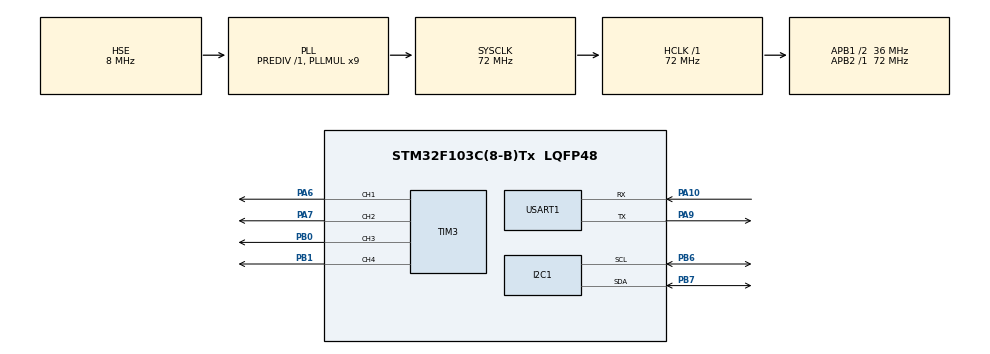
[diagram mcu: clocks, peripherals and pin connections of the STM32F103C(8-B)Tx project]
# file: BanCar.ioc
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Mcu.Family=STM32F1
Mcu.Name=STM32F103C(8-B)Tx
Mcu.Package=LQFP48
NVIC.PriorityGroup=NVIC_PRIORITYGROUP_4
PA10.Mode=Asynchronous
PA10.Signal=USART1_RX
PA13.Mode=Serial_Wire
PA13.Signal=SYS_JTMS-SWDIO
PA14.Mode=Serial_Wire
PA14.Signal=SYS_JTCK-SWCLK
PA6.Signal=S_TIM3_CH1
PA7.Signal=S_TIM3_CH2
PA9.Mode=Asynchronous
PA9.Signal=USART1_TX
PB0.Signal=S_TIM3_CH3
PB1.Signal=S_TIM3_CH4
PB6.Mode=I2C
PB6.Signal=I2C1_SCL
PB7.Mode=I2C
PB7.Signal=I2C1_SDA
PC14-OSC32_IN.Mode=LSE-External-Oscillator
PC14-OSC32_IN.Signal=RCC_OSC32_IN
PC15-OSC32_OUT.Mode=LSE-External-Oscillator
PC15-OSC32_OUT.Signal=RCC_OSC32_OUT
PD0-OSC_IN.Mode=HSE-External-Oscillator
PD0-OSC_IN.Signal=RCC_OSC_IN
PD1-OSC_OUT.Mode=HSE-External-Oscillator
PD1-OSC_OUT.Signal=RCC_OSC_OUT
ProjectManager.HeapSize=0x200
ProjectManager.StackSize=0x400
ProjectManager.TargetToolchain=MDK-ARM V5
RCC.AHBFreq_Value=72000000
RCC.APB1CLKDivider=RCC_HCLK_DIV2
RCC.APB1Freq_Value=36000000
RCC.APB1TimFreq_Value=72000000
RCC.APB2Freq_Value=72000000
RCC.APB2TimFreq_Value=72000000
RCC.HCLKFreq_Value=72000000
RCC.PLLMUL=RCC_PLL_MUL9
RCC.PLLSourceVirtual=RCC_PLLSOURCE_HSE
RCC.SYSCLKFreq_VALUE=72000000
RCC.SYSCLKSource=RCC_SYSCLKSOURCE_PLLCLK
RCC.USBFreq_Value=72000000
SH.S_TIM3_CH1.0=TIM3_CH1,PWM Generation1 CH1
SH.S_TIM3_CH2.0=TIM3_CH2,PWM Generation2 CH2
SH.S_TIM3_CH3.0=TIM3_CH3,PWM Generation3 CH3
SH.S_TIM3_CH4.0=TIM3_CH4,PWM Generation4 CH4
TIM3.Channel-PWM\ Generation1\ CH1=TIM_CHANNEL_1
TIM3.Channel-PWM\ Generation2\ CH2=TIM_CHANNEL_2
TIM3.Channel-PWM\ Generation3\ CH3=TIM_CHANNEL_3
TIM3.Channel-PWM\ Generation4\ CH4=TIM_CHANNEL_4
USART1.VirtualMode=VM_ASYNC
VP_TIM3_VS_ClockSourceINT.Mode=Internal
board=BanCar

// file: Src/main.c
/**
  ******************************************************************************
  * File Name          : main.c
  * Description        : Main program body
  ******************************************************************************
  ** This notice applies to any and all portions of this file
  * that are not between comment pairs USER CODE BEGIN and
  * USER CODE END. Other portions of this file, whether
  * inserted by the user or by software development tools
  * are owned by their respective copyright owners.
  *
  * COPYRIGHT(c) 2017 STMicroelectronics
  *
  * Redistribution and use in source and binary forms, with or without modification,
  * are permitted provided that the following conditions are met:
  *   1. Redistributions of source code must retain the above copyright notice,
  *      this list of conditions and the following disclaimer.
  *   2. Redistributions in binary form must reproduce the above copyright notice,
  *      this list of conditions and the following disclaimer in the documentation
  *      and/or other materials provided with the distribution.
  *   3. Neither the name of STMicroelectronics nor the names of its contributors
  *      may be used to endorse or promote products derived from this software
  *      without specific prior written permission.
  *
  * THIS SOFTWARE IS PROVIDED BY THE COPYRIGHT HOLDERS AND CONTRIBUTORS "AS IS"
  * AND ANY EXPRESS OR IMPLIED WARRANTIES, INCLUDING, BUT NOT LIMITED TO, THE
  * IMPLIED WARRANTIES OF MERCHANTABILITY AND FITNESS FOR A PARTICULAR PURPOSE ARE
  * DISCLAIMED. IN NO EVENT SHALL THE COPYRIGHT HOLDER OR CONTRIBUTORS BE LIABLE
  * FOR ANY DIRECT, INDIRECT, INCIDENTAL, SPECIAL, EXEMPLARY, OR CONSEQUENTIAL
  * DAMAGES (INCLUDING, BUT NOT LIMITED TO, PROCUREMENT OF SUBSTITUTE GOODS OR
  * SERVICES; LOSS OF USE, DATA, OR PROFITS; OR BUSINESS INTERRUPTION) HOWEVER
  * CAUSED AND ON ANY THEORY OF LIABILITY, WHETHER IN CONTRACT, STRICT LIABILITY,
  * OR TORT (INCLUDING NEGLIGENCE OR OTHERWISE) ARISING IN ANY WAY OUT OF THE USE
  * OF THIS SOFTWARE, EVEN IF ADVISED OF THE POSSIBILITY OF SUCH DAMAGE.
  *
  ******************************************************************************
  */
#include "main.h"
#include "stm32f1xx_hal.h"

/* USER CODE BEGIN Includes */
#include "banlance.h"
#include "mpu6050.h"

/* USER CODE END Includes */

I2C_HandleTypeDef hi2c1;

TIM_HandleTypeDef htim3;

UART_HandleTypeDef huart1;

/* USER CODE BEGIN PV */
/* Private variables ---------------------------------------------------------*/

/* USER CODE END PV */

void SystemClock_Config(void);
static void MX_GPIO_Init(void);
static void MX_USART1_UART_Init(void);
static void MX_I2C1_Init(void);
static void MX_TIM3_Init(void);

void HAL_TIM_MspPostInit(TIM_HandleTypeDef *htim);

/* USER CODE BEGIN PFP */
/* Private function prototypes -----------------------------------------------*/

/* USER CODE END PFP */

/* USER CODE BEGIN 0 */
float angle,angle_raw,gyro;
int pwm;
int fputc(int c,FILE * pf)
{
  HAL_UART_Transmit(&huart1,(uint8_t *)&c,1,5);
  return c;
}
void HAL_SYSTICK_Callback()
{
  if(HAL_GetTick()%5==0)
  {
    getAngle(&angle_raw,&gyro);
    angle=0.05*angle_raw+0.95*(angle+gyro*0.005);
    pwm=banlanceControl(angle,gyro);
    printf("%f %f\r\n",angle_raw,angle);
  }
 }
/* USER CODE END 0 */

int main(void)
{

  /* MCU Configuration----------------------------------------------------------*/

  /* Reset of all peripherals, Initializes the Flash interface and the Systick. */
  HAL_Init();

  /* Configure the system clock */
  SystemClock_Config();

  /* Initialize all configured peripherals */
  MX_GPIO_Init();
  MX_USART1_UART_Init();
  MX_I2C1_Init();
  MX_TIM3_Init();

  /* USER CODE BEGIN 2 */

  MPU_isReady()?printf("Nothing Connected!\r\n"):printf("Connected!\r\n");
  MPU_WakeUp()?printf("Waking up MPU6050 failed!\r\n"):printf("MPU6050 wakes up!\r\n");
  MPU_SetScale(GYRO_SCALE_500,ACC_SCALE_2G)?printf("Setting scale failed!"):printf("Setting scale succeeded!");
  HAL_Delay(500);
  /* USER CODE END 2 */

  /* Infinite loop */
  /* USER CODE BEGIN WHILE */
  int16_t ax,ay,gz;
    HAL_TIM_PWM_Start(&htim3,TIM_CHANNEL_1);
    HAL_TIM_PWM_Start(&htim3,TIM_CHANNEL_2);
    HAL_TIM_PWM_Start(&htim3,TIM_CHANNEL_3);
    HAL_TIM_PWM_Start(&htim3,TIM_CHANNEL_4);
  while (1)
  {

    pwmOutputL(pwm);
      pwmOutputR(pwm);
  /* USER CODE END WHILE */

  /* USER CODE BEGIN 3 */
    // MPU_ReadGy(&gz);
    // printf("%d\r\n",gz);
    // HAL_Delay(5);
  }
  /* USER CODE END 3 */

}

/** System Clock Configuration
*/
void SystemClock_Config(void)
{

  RCC_OscInitTypeDef RCC_OscInitStruct;
  RCC_ClkInitTypeDef RCC_ClkInitStruct;

    /**Initializes the CPU, AHB and APB busses clocks
    */
  RCC_OscInitStruct.OscillatorType = RCC_OSCILLATORTYPE_HSE;
  RCC_OscInitStruct.HSEState = RCC_HSE_ON;
  RCC_OscInitStruct.HSEPredivValue = RCC_HSE_PREDIV_DIV1;
  RCC_OscInitStruct.HSIState = RCC_HSI_ON;
  RCC_OscInitStruct.PLL.PLLState = RCC_PLL_ON;
  RCC_OscInitStruct.PLL.PLLSource = RCC_PLLSOURCE_HSE;
  RCC_OscInitStruct.PLL.PLLMUL = RCC_PLL_MUL9;
  if (HAL_RCC_OscConfig(&RCC_OscInitStruct) != HAL_OK)
  {
    _Error_Handler(__FILE__, __LINE__);
  }

    /**Initializes the CPU, AHB and APB busses clocks
    */
  RCC_ClkInitStruct.ClockType = RCC_CLOCKTYPE_HCLK|RCC_CLOCKTYPE_SYSCLK
                              |RCC_CLOCKTYPE_PCLK1|RCC_CLOCKTYPE_PCLK2;
  RCC_ClkInitStruct.SYSCLKSource = RCC_SYSCLKSOURCE_PLLCLK;
  RCC_ClkInitStruct.AHBCLKDivider = RCC_SYSCLK_DIV1;
  RCC_ClkInitStruct.APB1CLKDivider = RCC_HCLK_DIV2;
  RCC_ClkInitStruct.APB2CLKDivider = RCC_HCLK_DIV1;

  if (HAL_RCC_ClockConfig(&RCC_ClkInitStruct, FLASH_LATENCY_2) != HAL_OK)
  {
    _Error_Handler(__FILE__, __LINE__);
  }

    /**Configure the Systick interrupt time
    */
  HAL_SYSTICK_Config(HAL_RCC_GetHCLKFreq()/1000);

    /**Configure the Systick
    */
  HAL_SYSTICK_CLKSourceConfig(SYSTICK_CLKSOURCE_HCLK);

  /* SysTick_IRQn interrupt configuration */
  HAL_NVIC_SetPriority(SysTick_IRQn, 0, 0);
}

/* I2C1 init function */
static void MX_I2C1_Init(void)
{

  hi2c1.Instance = I2C1;
  hi2c1.Init.ClockSpeed = 400000;
  hi2c1.Init.DutyCycle = I2C_DUTYCYCLE_2;
  hi2c1.Init.OwnAddress1 = 0;
  hi2c1.Init.AddressingMode = I2C_ADDRESSINGMODE_7BIT;
  hi2c1.Init.DualAddressMode = I2C_DUALADDRESS_DISABLE;
  hi2c1.Init.OwnAddress2 = 0;
  hi2c1.Init.GeneralCallMode = I2C_GENERALCALL_DISABLE;
  hi2c1.Init.NoStretchMode = I2C_NOSTRETCH_DISABLE;
  if (HAL_I2C_Init(&hi2c1) != HAL_OK)
  {
    _Error_Handler(__FILE__, __LINE__);
  }

}

/* TIM3 init function */
static void MX_TIM3_Init(void)
{

  TIM_ClockConfigTypeDef sClockSourceConfig;
  TIM_MasterConfigTypeDef sMasterConfig;
  TIM_OC_InitTypeDef sConfigOC;

  htim3.Instance = TIM3;
  htim3.Init.Prescaler = 0;
  htim3.Init.CounterMode = TIM_COUNTERMODE_UP;
  htim3.Init.Period = 7200;
  htim3.Init.ClockDivision = TIM_CLOCKDIVISION_DIV1;
  htim3.Init.AutoReloadPreload = TIM_AUTORELOAD_PRELOAD_DISABLE;
  if (HAL_TIM_Base_Init(&htim3) != HAL_OK)
  {
    _Error_Handler(__FILE__, __LINE__);
  }

  sClockSourceConfig.ClockSource = TIM_CLOCKSOURCE_INTERNAL;
  if (HAL_TIM_ConfigClockSource(&htim3, &sClockSourceConfig) != HAL_OK)
  {
    _Error_Handler(__FILE__, __LINE__);
  }

  if (HAL_TIM_PWM_Init(&htim3) != HAL_OK)
  {
    _Error_Handler(__FILE__, __LINE__);
  }

  sMasterConfig.MasterOutputTrigger = TIM_TRGO_RESET;
  sMasterConfig.MasterSlaveMode = TIM_MASTERSLAVEMODE_DISABLE;
  if (HAL_TIMEx_MasterConfigSynchronization(&htim3, &sMasterConfig) != HAL_OK)
  {
    _Error_Handler(__FILE__, __LINE__);
  }

  sConfigOC.OCMode = TIM_OCMODE_PWM1;
  sConfigOC.Pulse = 0;
  sConfigOC.OCPolarity = TIM_OCPOLARITY_HIGH;
  sConfigOC.OCFastMode = TIM_OCFAST_DISABLE;
  if (HAL_TIM_PWM_ConfigChannel(&htim3, &sConfigOC, TIM_CHANNEL_1) != HAL_OK)
  {
    _Error_Handler(__FILE__, __LINE__);
  }

  if (HAL_TIM_PWM_ConfigChannel(&htim3, &sConfigOC, TIM_CHANNEL_2) != HAL_OK)
  {
    _Error_Handler(__FILE__, __LINE__);
  }

  if (HAL_TIM_PWM_ConfigChannel(&htim3, &sConfigOC, TIM_CHANNEL_3) != HAL_OK)
  {
    _Error_Handler(__FILE__, __LINE__);
  }

  if (HAL_TIM_PWM_ConfigChannel(&htim3, &sConfigOC, TIM_CHANNEL_4) != HAL_OK)
  {
    _Error_Handler(__FILE__, __LINE__);
  }

  HAL_TIM_MspPostInit(&htim3);

}

/* USART1 init function */
static void MX_USART1_UART_Init(void)
{

  huart1.Instance = USART1;
  huart1.Init.BaudRate = 115200;
  huart1.Init.WordLength = UART_WORDLENGTH_8B;
  huart1.Init.StopBits = UART_STOPBITS_1;
  huart1.Init.Parity = UART_PARITY_NONE;
  huart1.Init.Mode = UART_MODE_TX_RX;
  huart1.Init.HwFlowCtl = UART_HWCONTROL_NONE;
  huart1.Init.OverSampling = UART_OVERSAMPLING_16;
  if (HAL_UART_Init(&huart1) != HAL_OK)
  {
    _Error_Handler(__FILE__, __LINE__);
  }

}

/** Configure pins as
        * Analog
        * Input
        * Output
        * EVENT_OUT
        * EXTI
*/
static void MX_GPIO_Init(void)
{

  /* GPIO Ports Clock Enable */
  __HAL_RCC_GPIOC_CLK_ENABLE();
  __HAL_RCC_GPIOD_CLK_ENABLE();
  __HAL_RCC_GPIOA_CLK_ENABLE();
  __HAL_RCC_GPIOB_CLK_ENABLE();

}

void _Error_Handler(char * file, int line)
{
  while(1)
  {
  }
}

/************************ (C) COPYRIGHT STMicroelectronics *****END OF FILE****/
